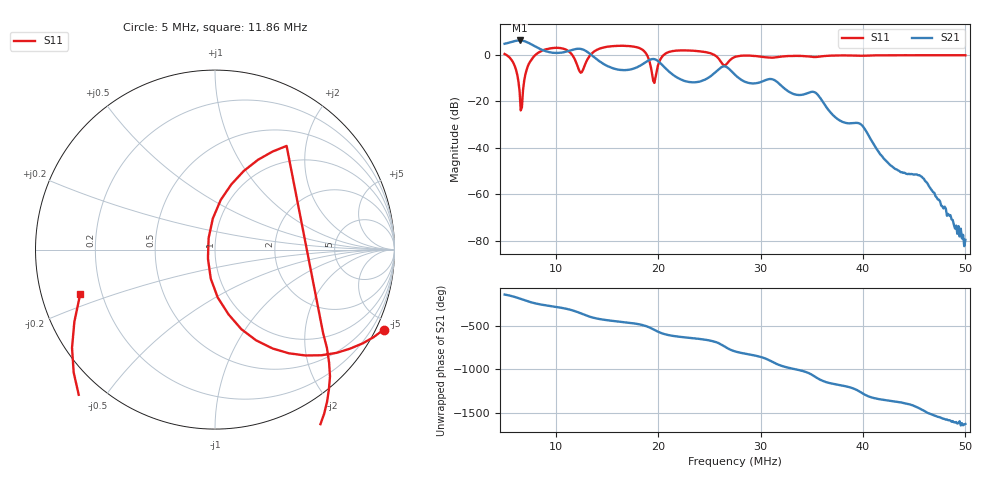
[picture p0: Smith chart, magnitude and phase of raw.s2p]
! S11/S21 only; reverse parameters are placeholders. Device calibration unverified.
! NanoVNA F V2 profile | COM3 | 2026-09-08T11:40:42.4930290-04:00 | device calibration unverified
# HZ S RI R 50
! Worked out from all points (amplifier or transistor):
!   401 points, 5 MHz to 50 MHz, reference 50 ohm
!   highest |S21| = 6.2 dB at 6.463 MHz (marker M1)
!   |S21| within 3 dB of that: start of sweep to 8.156 MHz
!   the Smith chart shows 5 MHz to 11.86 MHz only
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5000000  0.939 -0.4464  -1.244 -1.194  0 0  0 0
5900000  0.3215 -0.5512  -1.839 -0.6494  0 0  0 0
6462500  -0.0234 -0.1625  -2.032 0.0666  0 0  0 0
7250000  0.2395 0.5003  -1.527 1.032  0 0  0 0
8037500  0.6344 -0.7807  -0.7613 1.277  0 0  0 0
1.0175e7  -0.1007 -1.406  0.226 1.071  0 0  0 0
1.16375e7  -0.7966 -0.5474  0.9672 0.8366  0 0  0 0
1.25375e7  -0.0237 0.4222  1.32 0.0401  0 0  0 0
1.3325e7  0.9386 0.1911  0.8866 -0.5649  0 0  0 0
1.4225e7  1.277 -0.4092  0.3873 -0.6246  0 0  0 0
1.79375e7  0.5298 -1.349  -0.2287 -0.4879  0 0  0 0
1.9175e7  -0.4154 -0.5457  -0.7199 -0.2982  0 0  0 0
2.0075e7  0.5365 0.4193  -0.6097 0.354  0 0  0 0
2.12e7  1.171 -0.0869  -0.1483 0.3807  0 0  0 0
2.4125e7  1.003 -0.6247  0.0916 0.2514  0 0  0 0
2.6375e7  0.4877 -0.354  0.5569 -0.0783  0 0  0 0
2.75e7  0.8619 -0.257  0.1117 -0.3546  0 0  0 0
3.09875e7  0.7243 -0.4714  -0.3006 0.0149  0 0  0 0
3.50375e7  0.6346 -0.6395  0.1539 0.0438  0 0  0 0
4.2575e7  0.4417 -0.8703  0.000939 0.00431  0 0  0 0
4.5725e7  0.3235 -0.9218  0.00217 -0.00101  0 0  0 0
5e7  0.1594 -0.964  -0.000103 1.8e-05  0 0  0 0
